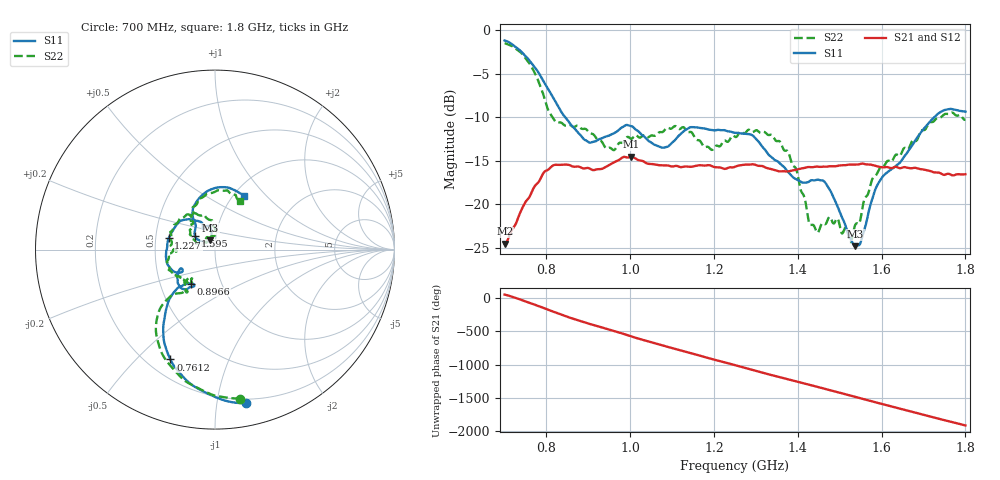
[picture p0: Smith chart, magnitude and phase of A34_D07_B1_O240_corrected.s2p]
! Created with skrf 1.9.0 (http://scikit-rf.org).
# Hz S RI R 50.0
!freq ReS11 ImS11 ReS21 ImS21 ReS12 ImS12 ReS22 ImS22
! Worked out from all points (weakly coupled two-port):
!   1601 points, 700 MHz to 1.8 GHz, reference 50 ohm
!   highest |S21| = -14.53 dB at 1.002 GHz (marker M1); lowest = -24.5 dB at 700.7 MHz (marker M2)
!   lowest |S11| = -24.8 dB at 1.537 GHz (marker M3), VSWR 1.12, Z = 47.2 + j4.83 ohm
!   |S11| at or under -10 dB: 844.7 MHz to 1.725 GHz (880.4 MHz wide, 68.5 % of centre)
!   |S22| runs from -24.3 to -1.5 dB; largest |S21 - S12| = 0.0035
!   S11 on the Smith chart (normalised r, x): 700 MHz: 0.17, -1.21; 761.2 MHz: 0.29, -0.63; 896.6 MHz: 0.72, -0.29; 1.227 GHz: 0.59, +0.08; 1.595 GHz: 0.79, +0.12; 1.8 GHz: 1.12, +0.76
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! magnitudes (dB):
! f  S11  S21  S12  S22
! 700 MHz  -1.2  -24.5  -24.3  -1.5
! 700.7 MHz  -1.2  -24.5  -24.2  -1.5
! 761.2 MHz  -3.6  -19.0  -18.9  -4.0
! 818.9 MHz  -8.0  -15.5  -15.6  -10.4
! 883.6 MHz  -12.2  -15.8  -15.7  -11.3
! 896.6 MHz  -12.7  -15.8  -15.9  -11.5
! 958.5 MHz  -11.9  -15.2  -15.2  -13.7
! 1.002 GHz  -11.0  -14.5  -14.6  -12.5
! 1.067 GHz  -13.3  -15.5  -15.4  -11.8
! 1.144 GHz  -11.1  -15.7  -15.7  -11.7
! 1.227 GHz  -11.5  -15.9  -15.9  -12.7
! 1.25 GHz  -11.8  -15.7  -15.6  -12.2
! 1.357 GHz  -15.3  -16.2  -16.2  -12.8
! 1.396 GHz  -17.1  -16.0  -16.0  -15.9
! 1.434 GHz  -17.2  -15.7  -15.7  -22.4
! 1.47 GHz  -17.9  -15.7  -15.7  -21.9
! 1.526 GHz  -23.9  -15.4  -15.4  -24.3
! 1.537 GHz  -24.8  -15.4  -15.4  -22.3
! 1.595 GHz  -17.3  -15.7  -15.7  -15.9
! 1.617 GHz  -16.2  -15.8  -15.7  -15.0
! 1.734 GHz  -9.6  -16.4  -16.4  -10.0
! 1.8 GHz  -9.4  -16.5  -16.5  -10.3
